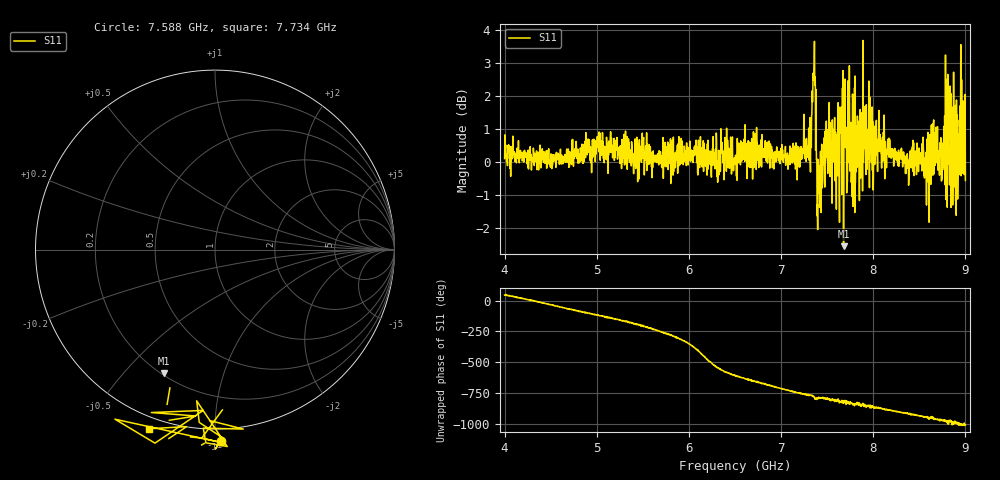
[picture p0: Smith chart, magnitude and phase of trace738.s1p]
! Created with skrf 1.8.0 (http://scikit-rf.org).
# Hz S RI R 50.0
!freq ReS11 ImS11
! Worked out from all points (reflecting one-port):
!   1601 points, 4 GHz to 9 GHz, reference 50 ohm
!   lowest |S11| = -2.5 dB at 7.678 GHz (marker M1), VSWR 6.88, Z = 10.4 - j32.4 ohm
!   phase of S11 starts at 44 deg and turns -1050 deg over the sweep
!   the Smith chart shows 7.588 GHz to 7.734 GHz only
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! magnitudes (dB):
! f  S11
! 4 GHz  0.1
! 4.625 GHz  0.0
! 5.25 GHz  0.0
! 5.875 GHz  0.5
! 6.319 GHz  -0.3
! 6.409 GHz  1.0
! 6.5 GHz  0.0
! 6.725 GHz  0.3
! 7.125 GHz  0.1
! 7.294 GHz  0.5
! 7.356 GHz  2.7
! 7.412 GHz  -0.5
! 7.503 GHz  1.0
! 7.609 GHz  0.0
! 7.65 GHz  1.6
! 7.678 GHz  -2.5
! 7.75 GHz  -0.1
! 7.769 GHz  -0.3
! 7.891 GHz  0.0
! 8.375 GHz  0.0
! 8.522 GHz  -0.1
! 8.581 GHz  0.0
! 8.656 GHz  1.3
! 8.728 GHz  0.3
! 8.788 GHz  -1.1
! 8.9 GHz  -1.6
! 8.956 GHz  0.7
! 9 GHz  -0.6
